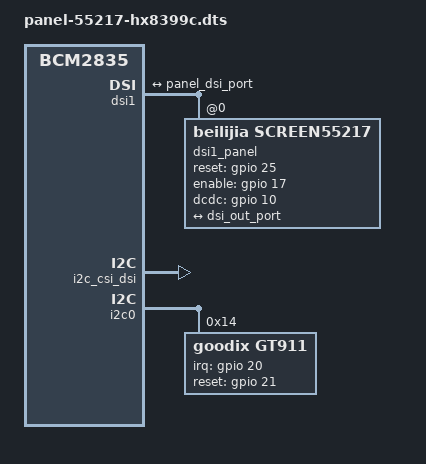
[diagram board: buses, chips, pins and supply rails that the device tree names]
/*
 * Device Tree overlay for sx1508 IO expander, jdi lt070me05000 panel, and goodix touchscreen.
 * Compile: dtc -Wno-interrupts_property -@ -I dts -O dtb -o cm4-dsi-lt070me05000.dtbo cm4-dsi-lt070me05000-overlay.dts
 */

/dts-v1/;
/plugin/;
// compile: dtc -@ -I dts-O dtb -o vc4-kms-dsi-w280bf036i.dtbo vc4-kms-dsi-w280bf036i.dts

/ {
	compatible = "brcm,bcm2835";  

	fragment@0 {
		target = <&dsi1>;
		__overlay__{
			status = "okay";
			#address-cells = <1>;
			#size-cells = <0>;
			port {
				dsi_out_port:endpoint {
					remote-endpoint = <&panel_dsi_port>;
				};
			};

			dsi1_panel:dsi1_panel@0 {
				compatible    = "beilijia,screen55217";
				status        = "okay";
				reg           = <0>;
                vc4_dsi       = <&dsi1>;
                reset-gpios   = <&gpio 25 0>;
                enable-gpios  = <&gpio 17 0>;
                dcdc-gpios    = <&gpio 10 0>;
				port {
					panel_dsi_port: endpoint {
						remote-endpoint = <&dsi_out_port>;
					};
				};
			};
		};
	};

	fragment@1 {
		target = <&gpio>;
		__overlay__ {
			dsi1_panel_pins: dsi1_panel_pins{
				brcm,pins = <25 17 10>;
				brcm,function = <1 1 1>; // out
				brcm,pull = <1 1 1>; // off
			};
		};

	};
	fragment@2 {
		target = <&i2c_csi_dsi>;
		__overlay__ {
			#address-cells = <1>;
			#size-cells = <0>;
			status = "okay";
		};
	};
    fragment@3 {
        target = <&i2c0>;
        __overlay__{
            status = "okay";
            #address-cells = <1>;
            #size-cells = <0>;

            gt911: gt911@14 {
                compatible = "goodix,gt911";
                reg = <0x14>;
                pinctrl-names = "default";
                pinctrl-0 = <&goodix_pins>;
                interrupt-parent = <&gpio>;
                interrupts = <20 2>; // high-to-low edge triggered
                /*interrupt-controller;*/
                irq-gpios = <&gpio 20 0>;
                reset-gpios = <&gpio 21 0>;
                status        = "okay";
            };
        };
    };

	fragment@4 {
		target = <&gpio>;
		__overlay__ {
			goodix_pins: goodix_pins{
				brcm,pins = <20 21>;
				brcm,function = <0 1>; // out
				brcm,pull = <2 1>; // off
			};
		};

	};

    fragment@5 {
        target = <&i2c0mux>;
        __overlay__ {
            pinctrl-0 = <&i2c0_gpio44>;
        };
    };
};
 


